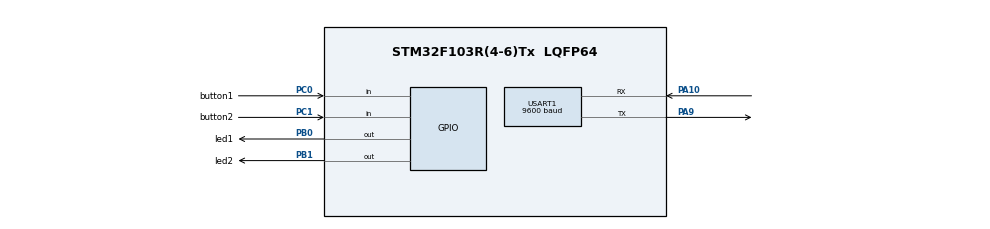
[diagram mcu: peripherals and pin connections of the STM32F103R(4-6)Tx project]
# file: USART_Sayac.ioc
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Mcu.Family=STM32F1
Mcu.Name=STM32F103R(4-6)Tx
Mcu.Package=LQFP64
NVIC.PriorityGroup=NVIC_PRIORITYGROUP_4
PA10.Mode=Asynchronous
PA10.Signal=USART1_RX
PA9.Mode=Asynchronous
PA9.Signal=USART1_TX
PB0.GPIO_Label=led1
PB0.GPIO_Speed=GPIO_SPEED_FREQ_MEDIUM
PB0.Signal=GPIO_Output
PB1.GPIO_Label=led2
PB1.GPIO_Speed=GPIO_SPEED_FREQ_MEDIUM
PB1.Signal=GPIO_Output
PC0.GPIO_Label=button1
PC0.GPIO_PuPd=GPIO_PULLDOWN
PC0.Signal=GPIO_Input
PC1.GPIO_Label=button2
PC1.GPIO_PuPd=GPIO_PULLDOWN
PC1.Signal=GPIO_Input
ProjectManager.HeapSize=0x200
ProjectManager.StackSize=0x400
ProjectManager.TargetToolchain=MDK-ARM V5.27
RCC.APB1Freq_Value=8000000
RCC.APB2Freq_Value=8000000
USART1.BaudRate=9600
USART1.VirtualMode=VM_ASYNC
VP_SYS_VS_ND.Mode=No_Debug
board=custom

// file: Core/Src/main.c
/* USER CODE BEGIN Header */
/**
  ******************************************************************************
  * @file           : main.c
  * @brief          : Main program body
  ******************************************************************************
  * @attention
  *
  * <h2><center>&copy; Copyright (c) 2021 STMicroelectronics.
  * All rights reserved.</center></h2>
  *
  * This software component is licensed by ST under BSD 3-Clause license,
  * the "License"; You may not use this file except in compliance with the
  * License. You may obtain a copy of the License at:
  *                        opensource.org/licenses/BSD-3-Clause
  *
  ******************************************************************************
  */
/* USER CODE END Header */
#include "main.h"

/* USER CODE BEGIN Includes */
	#include "stdio.h"
/* USER CODE END Includes */

UART_HandleTypeDef huart1;

/* USER CODE BEGIN PV */
		char setArray[2];
		uint16_t button1Set=0,button2Set=0;
		uint16_t i;

/* USER CODE END PV */

void SystemClock_Config(void);
static void MX_GPIO_Init(void);
static void MX_USART1_UART_Init(void);

int main(void)
{

  /* MCU Configuration--------------------------------------------------------*/

  /* Reset of all peripherals, Initializes the Flash interface and the Systick. */
  HAL_Init();

  /* Configure the system clock */
  SystemClock_Config();

  /* Initialize all configured peripherals */
  MX_GPIO_Init();
  MX_USART1_UART_Init();

  /* Infinite loop */
  while (1)
  {

    /* USER CODE BEGIN 3 */
		button1Set=HAL_GPIO_ReadPin(GPIOC,GPIO_PIN_0);
		button2Set=HAL_GPIO_ReadPin(GPIOC,GPIO_PIN_1);
		uint16_t setData=sprintf(setArray,"%d",i);
		if(button1Set){

					HAL_Delay(300);

					HAL_UART_Transmit(&huart1,(uint8_t*) setArray,setData,10);

					HAL_GPIO_WritePin(GPIOB,GPIO_PIN_0,GPIO_PIN_SET);
					HAL_GPIO_WritePin(GPIOB,GPIO_PIN_1,GPIO_PIN_RESET);

					i++;
		}
		else if(button2Set){

				HAL_Delay(300);

					HAL_UART_Transmit(&huart1,(uint8_t*) setArray,setData,10);

					HAL_GPIO_WritePin(GPIOB,GPIO_PIN_0,GPIO_PIN_RESET);
					HAL_GPIO_WritePin(GPIOB,GPIO_PIN_1,GPIO_PIN_SET);
				i--;

		}
  }
  /* USER CODE END 3 */
}

void SystemClock_Config(void)
{
  RCC_OscInitTypeDef RCC_OscInitStruct = {0};
  RCC_ClkInitTypeDef RCC_ClkInitStruct = {0};

  /** Initializes the RCC Oscillators according to the specified parameters
  * in the RCC_OscInitTypeDef structure.
  */
  RCC_OscInitStruct.OscillatorType = RCC_OSCILLATORTYPE_HSI;
  RCC_OscInitStruct.HSIState = RCC_HSI_ON;
  RCC_OscInitStruct.HSICalibrationValue = RCC_HSICALIBRATION_DEFAULT;
  RCC_OscInitStruct.PLL.PLLState = RCC_PLL_NONE;
  if (HAL_RCC_OscConfig(&RCC_OscInitStruct) != HAL_OK)
  {
    Error_Handler();
  }
  /** Initializes the CPU, AHB and APB buses clocks
  */
  RCC_ClkInitStruct.ClockType = RCC_CLOCKTYPE_HCLK|RCC_CLOCKTYPE_SYSCLK
                              |RCC_CLOCKTYPE_PCLK1|RCC_CLOCKTYPE_PCLK2;
  RCC_ClkInitStruct.SYSCLKSource = RCC_SYSCLKSOURCE_HSI;
  RCC_ClkInitStruct.AHBCLKDivider = RCC_SYSCLK_DIV1;
  RCC_ClkInitStruct.APB1CLKDivider = RCC_HCLK_DIV1;
  RCC_ClkInitStruct.APB2CLKDivider = RCC_HCLK_DIV1;

  if (HAL_RCC_ClockConfig(&RCC_ClkInitStruct, FLASH_LATENCY_0) != HAL_OK)
  {
    Error_Handler();
  }
}

static void MX_USART1_UART_Init(void)
{

  huart1.Instance = USART1;
  huart1.Init.BaudRate = 9600;
  huart1.Init.WordLength = UART_WORDLENGTH_8B;
  huart1.Init.StopBits = UART_STOPBITS_1;
  huart1.Init.Parity = UART_PARITY_NONE;
  huart1.Init.Mode = UART_MODE_TX_RX;
  huart1.Init.HwFlowCtl = UART_HWCONTROL_NONE;
  huart1.Init.OverSampling = UART_OVERSAMPLING_16;
  if (HAL_UART_Init(&huart1) != HAL_OK)
  {
    Error_Handler();
  }

}

static void MX_GPIO_Init(void)
{
  GPIO_InitTypeDef GPIO_InitStruct = {0};

  /* GPIO Ports Clock Enable */
  __HAL_RCC_GPIOC_CLK_ENABLE();
  __HAL_RCC_GPIOB_CLK_ENABLE();
  __HAL_RCC_GPIOA_CLK_ENABLE();

  /*Configure GPIO pin Output Level */
  HAL_GPIO_WritePin(GPIOB, led1_Pin|led2_Pin, GPIO_PIN_RESET);

  /*Configure GPIO pins : button1_Pin button2_Pin */
  GPIO_InitStruct.Pin = button1_Pin|button2_Pin;
  GPIO_InitStruct.Mode = GPIO_MODE_INPUT;
  GPIO_InitStruct.Pull = GPIO_PULLDOWN;
  HAL_GPIO_Init(GPIOC, &GPIO_InitStruct);

  /*Configure GPIO pins : led1_Pin led2_Pin */
  GPIO_InitStruct.Pin = led1_Pin|led2_Pin;
  GPIO_InitStruct.Mode = GPIO_MODE_OUTPUT_PP;
  GPIO_InitStruct.Pull = GPIO_NOPULL;
  GPIO_InitStruct.Speed = GPIO_SPEED_FREQ_MEDIUM;
  HAL_GPIO_Init(GPIOB, &GPIO_InitStruct);

}

void Error_Handler(void)
{
  __disable_irq();
  while (1)
  {
  }
}

/************************ (C) COPYRIGHT STMicroelectronics *****END OF FILE****/
